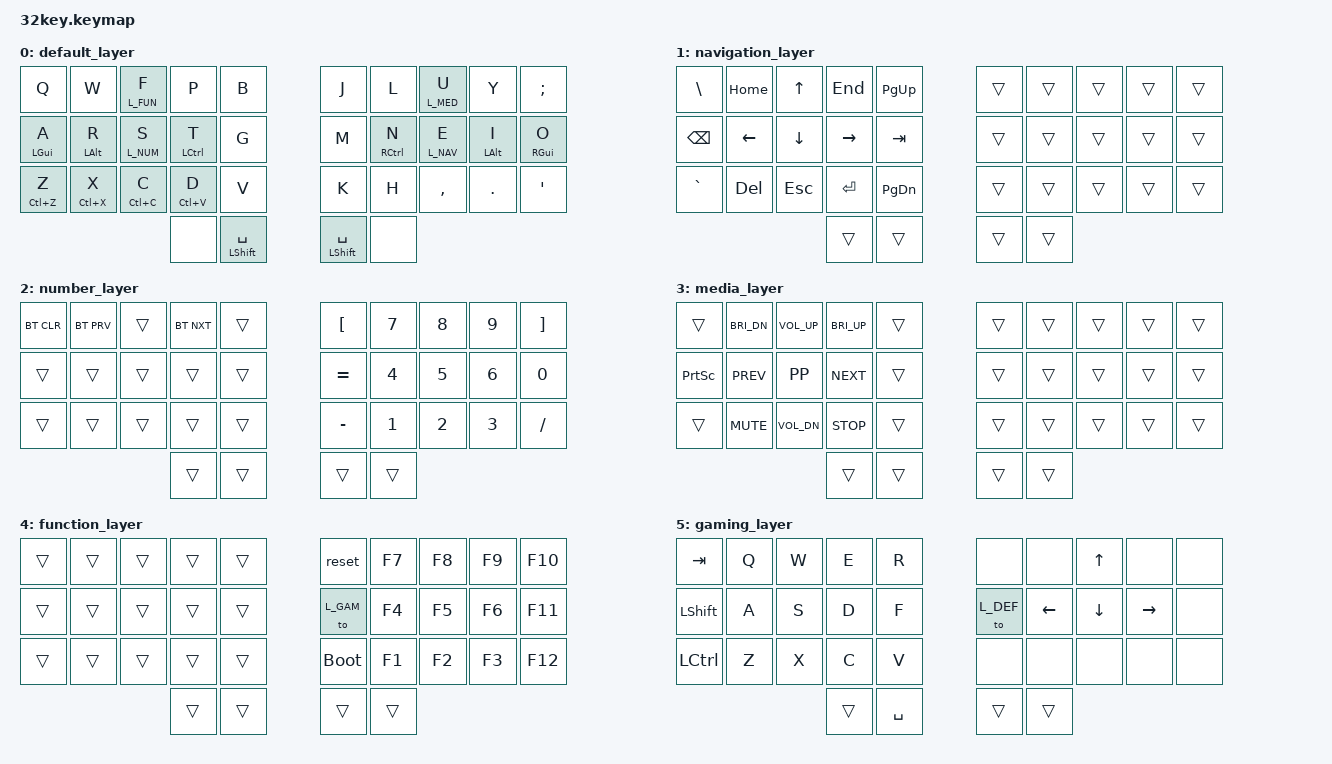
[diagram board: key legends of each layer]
/*
 * Copyright (c) 2020 The ZMK Contributors
 *
 * SPDX-License-Identifier: MIT
 */

#include <behaviors.dtsi>
#include <dt-bindings/zmk/bt.h>
#include <dt-bindings/zmk/keys.h>

// GENERAL KEYS
#define GEN_NONE &none
#define GEN_TRAN &trans

// DEFAULT LAYER

#define L_DEF 0

#define DEF_Q &kp Q
#define DEF_W &kp W
#define DEF_F &lhlt L_FUN F
#define DEF_P &kp P
#define DEF_B &kp B
                        
#define DEF_A &lht LGUI A 
#define DEF_R &lht LALT R 
#define DEF_S &lhlt L_NUM S
#define DEF_T &lht LCTRL T 
#define DEF_G &kp G
        
#define DEF_Z &mt LC(Z) Z
#define DEF_X &mt LC(X) X
#define DEF_C &mt LC(C) C
#define DEF_D &mt LC(V) D
#define DEF_V &kp V
                        

#define DEF_J &kp J
#define DEF_L &kp L
#define DEF_U &rhlt L_MED U
#define DEF_Y &kp Y
#define DEF_SEMI &kp SEMI

#define DEF_K &kp K
#define DEF_H &kp H
#define DEF_COMA &kp COMMA
#define DEF_DOT &kp DOT
#define DEF_QUOT &kp SQT

#define DEF_M &kp M
#define DEF_N &rht RCTL N 
#define DEF_E &rhlt L_NAV E
#define DEF_I &rht LALT I 
#define DEF_O &rht RGUI O


#define DEF_SPC &mt LSHIFT SPC

// NAVIGATION LAYER
#define L_NAV 1

#define NAV_BSLH &kp BSLH
#define NAV_HOME &kp HOME
#define NAV_UP &kp UP
#define NAV_END &kp END
#define NAV_PGUP &kp PG_UP

#define NAV_BSPC &kp BSPC
#define NAV_LEFT &kp LEFT
#define NAV_DOWN &kp DOWN
#define NAV_RGHT &kp RIGHT
#define NAV_TAB &kp TAB

#define NAV_GRV &kp GRAVE
#define NAV_DEL &kp DEL
#define NAV_ESC &kp ESC
#define NAV_RET &kp RET
#define NAV_PGDN &kp PG_DN


// NUMBER LAYER
#define L_NUM 2

#define NUM_BCLR &bt BT_CLR
#define NUM_BNXT &bt BT_NXT
#define NUM_BPRV &bt BT_PRV

#define NUM_LBKT &kp LBKT
#define NUM_N7 &kp N7 
#define NUM_N8 &kp N8
#define NUM_N9 &kp N9
#define NUM_RBKT &kp RBKT 

#define NUM_EQUL &kp EQUAL
#define NUM_N4 &kp N4
#define NUM_N5 &kp N5
#define NUM_N6 &kp N6
#define NUM_N0 &kp N0

#define NUM_MIN &kp MINUS
#define NUM_N1 &kp N1
#define NUM_N2 &kp N2
#define NUM_N3 &kp N3
#define NUM_FSLH &kp FSLH

// MEDIA LAYER
#define L_MED 3

#define MED_BRID &kp C_BRI_DN
#define MED_VOLU &kp C_VOL_UP
#define MED_BRIU &kp C_BRI_UP

#define MED_PRNT &kp PSCRN
#define MED_PREV &kp C_PREV
#define MED_PLAY &kp K_PP
#define MED_NEXT &kp C_NEXT

#define MED_MUTE &kp C_MUTE
#define MED_VOLD &kp C_VOL_DN
#define MED_STOP &kp C_STOP

// FUNCTION LAYER
#define L_FUN 4

#define FUN_RES &reset
#define FUN_F7 &kp F7
#define FUN_F8 &kp F8
#define FUN_F9 &kp F9
#define FUN_F10 &kp F10

#define FUN_GAME &to L_GAM
#define FUN_F4 &kp F4
#define FUN_F5 &kp F5
#define FUN_F6 &kp F6
#define FUN_F11 &kp F11

#define FUN_BOOT &bootloader
#define FUN_F1 &kp F1
#define FUN_F2 &kp F2
#define FUN_F3 &kp F3
#define FUN_F13 &kp F12

// GAMING LAYER
#define L_GAM 5

#define GAM_TAB &kp TAB
#define GAM_Q &kp Q
#define GAM_W &kp W
#define GAM_E &kp E
#define GAM_R &kp R

#define GAM_LSFT &kp LSHIFT
#define GAM_A &kp A
#define GAM_S &kp S
#define GAM_D &kp D
#define GAM_F &kp F

#define GAM_LCTL &kp LCTRL
#define GAM_Z &kp Z
#define GAM_X &kp X
#define GAM_C &kp C
#define GAM_V &kp V


#define GAM_UP &kp UP

#define GAM_DEF &to L_DEF
#define GAM_LEFT &kp LEFT
#define GAM_DOWN &kp DOWN
#define GAM_RGHT &kp RIGHT

#define GAM_ESC &kp ESC
#define GAM_SPC &kp SPACE


&mt {
  flavor = "tap-preferred";
  tapping_term_ms = <180>;
};

&lt {
  flavor = "tap-preferred";
  tapping_term_ms = <180>;
};

/ {
  behaviors {
    lht: left_hand_positional_hold_tap {
        compatible = "zmk,behavior-hold-tap";
        label = "LEFT_POSITIONAL_HOLD_TAP";
        #binding-cells = <2>;
        tapping-term-ms = <200>; 
        quick-tap-ms = <0>;
        flavor = "balanced";
        bindings = <&kp>, <&kp>;
        hold-trigger-key-positions = <2 5 6 7 8 9 12 15 16 17 18 19 25 26 27 28 29 30 31 32 33>;
    };
    lhlt: left_hand_positional_hold_layer_tap {
        compatible = "zmk,behavior-hold-tap";
        label = "LEFT_POSITIONAL_HOLD_LAYER_TAP";
        #binding-cells = <2>;
        tapping-term-ms = <200>;
        quick-tap-ms = <0>;
        flavor = "balanced";
        bindings = <&mo>, <&kp>;
        hold-trigger-key-positions = <5 6 7 8 9 10 11 13 15 16 17 18 19 25 26 27 28 29 30 31 32 33>;
    };
    rht: right_hand_positional_hold_tap {
        compatible = "zmk,behavior-hold-tap";
        label = "RIGHT_POSITIONAL_HOLD_TAP";
        #binding-cells = <2>;
        tapping-term-ms = <200>;
        quick-tap-ms = <0>;
        flavor = "balanced";
        bindings = <&kp>, <&kp>;
        hold-trigger-key-positions = <0 1 2 3 4 7 10 11 12 13 14 17 20 21 22 23 24 30 31 32 33>;
    };
    rhlt: right_hand_positional_hold_layer_tap {
        compatible = "zmk,behavior-hold-tap";
        label = "RIGHT_POSITIONAL_HOLD_LAYER_TAP";
        #binding-cells = <2>;
        tapping-term-ms = <200>;
        quick-tap-ms = <0>;
        flavor = "balanced";
        bindings = <&mo>, <&kp>;
        hold-trigger-key-positions = <0 1 2 3 4 10 11 12 13 14 16 18 19 20 21 22 23 24 30 31 32 33>;
    };
  };

  keymap {
    compatible = "zmk,keymap";

    default_layer {
      bindings = <
        DEF_Q    DEF_W    DEF_F    DEF_P    DEF_B          DEF_J    DEF_L    DEF_U    DEF_Y    DEF_SEMI
        DEF_A    DEF_R    DEF_S    DEF_T    DEF_G          DEF_M    DEF_N    DEF_E    DEF_I    DEF_O
        DEF_Z    DEF_X    DEF_C    DEF_D    DEF_V          DEF_K    DEF_H    DEF_COMA DEF_DOT  DEF_QUOT
                                   GEN_NONE DEF_SPC        DEF_SPC  GEN_NONE
      >;
    };

    navigation_layer {
      bindings = <
        NAV_BSLH NAV_HOME NAV_UP   NAV_END  NAV_PGUP       GEN_TRAN GEN_TRAN GEN_TRAN GEN_TRAN GEN_TRAN
        NAV_BSPC NAV_LEFT NAV_DOWN NAV_RGHT NAV_TAB        GEN_TRAN GEN_TRAN GEN_TRAN GEN_TRAN GEN_TRAN
        NAV_GRV  NAV_DEL  NAV_ESC  NAV_RET  NAV_PGDN       GEN_TRAN GEN_TRAN GEN_TRAN GEN_TRAN GEN_TRAN
                                   GEN_TRAN GEN_TRAN       GEN_TRAN GEN_TRAN
      >;
    };

    number_layer {
      bindings = <
        NUM_BCLR NUM_BPRV GEN_TRAN NUM_BNXT GEN_TRAN       NUM_LBKT NUM_N7    NUM_N8    NUM_N9    NUM_RBKT
        GEN_TRAN GEN_TRAN GEN_TRAN GEN_TRAN GEN_TRAN       NUM_EQUL NUM_N4    NUM_N5    NUM_N6    NUM_N0
        GEN_TRAN GEN_TRAN GEN_TRAN GEN_TRAN GEN_TRAN       NUM_MIN  NUM_N1    NUM_N2    NUM_N3    NUM_FSLH
                                   GEN_TRAN GEN_TRAN       GEN_TRAN GEN_TRAN
      >;
    };

    media_layer {
      bindings = <
        GEN_TRAN MED_BRID MED_VOLU MED_BRIU GEN_TRAN       GEN_TRAN GEN_TRAN GEN_TRAN GEN_TRAN GEN_TRAN
        MED_PRNT MED_PREV MED_PLAY MED_NEXT GEN_TRAN       GEN_TRAN GEN_TRAN GEN_TRAN GEN_TRAN GEN_TRAN
        GEN_TRAN MED_MUTE MED_VOLD MED_STOP GEN_TRAN       GEN_TRAN GEN_TRAN GEN_TRAN GEN_TRAN GEN_TRAN
                                   GEN_TRAN GEN_TRAN       GEN_TRAN GEN_TRAN
      >;
    };

    function_layer {
      bindings = <
        GEN_TRAN GEN_TRAN GEN_TRAN GEN_TRAN GEN_TRAN       FUN_RES  FUN_F7   FUN_F8   FUN_F9   FUN_F10
        GEN_TRAN GEN_TRAN GEN_TRAN GEN_TRAN GEN_TRAN       FUN_GAME FUN_F4   FUN_F5   FUN_F6   FUN_F11
        GEN_TRAN GEN_TRAN GEN_TRAN GEN_TRAN GEN_TRAN       FUN_BOOT FUN_F1   FUN_F2   FUN_F3   FUN_F13
                                   GEN_TRAN GEN_TRAN       GEN_TRAN GEN_TRAN
      >;
    };

    gaming_layer {
      bindings = <
        GAM_TAB  GAM_Q    GAM_W    GAM_E    GAM_R       GEN_NONE GEN_NONE GAM_UP   GEN_NONE GEN_NONE
        GAM_LSFT GAM_A    GAM_S    GAM_D    GAM_F       GAM_DEF  GAM_LEFT GAM_DOWN GAM_RGHT GEN_NONE
        GAM_LCTL GAM_Z    GAM_X    GAM_C    GAM_V       GEN_NONE GEN_NONE GEN_NONE GEN_NONE GEN_NONE
                                   GEN_TRAN GAM_SPC     GEN_TRAN GEN_TRAN
      >;
    };

    // empty_layer {
    //   bindings = <
    //     GEN_TRAN GEN_TRAN GEN_TRAN GEN_TRAN GEN_TRAN       GEN_TRAN GEN_TRAN GEN_TRAN GEN_TRAN GEN_TRAN
    //     GEN_TRAN GEN_TRAN GEN_TRAN GEN_TRAN GEN_TRAN       GEN_TRAN GEN_TRAN GEN_TRAN GEN_TRAN GEN_TRAN
    //     GEN_TRAN GEN_TRAN GEN_TRAN GEN_TRAN GEN_TRAN       GEN_TRAN GEN_TRAN GEN_TRAN GEN_TRAN GEN_TRAN
    //                                GEN_TRAN GEN_TRAN       GEN_TRAN GEN_TRAN
    //   >;
    // };

  };
};
